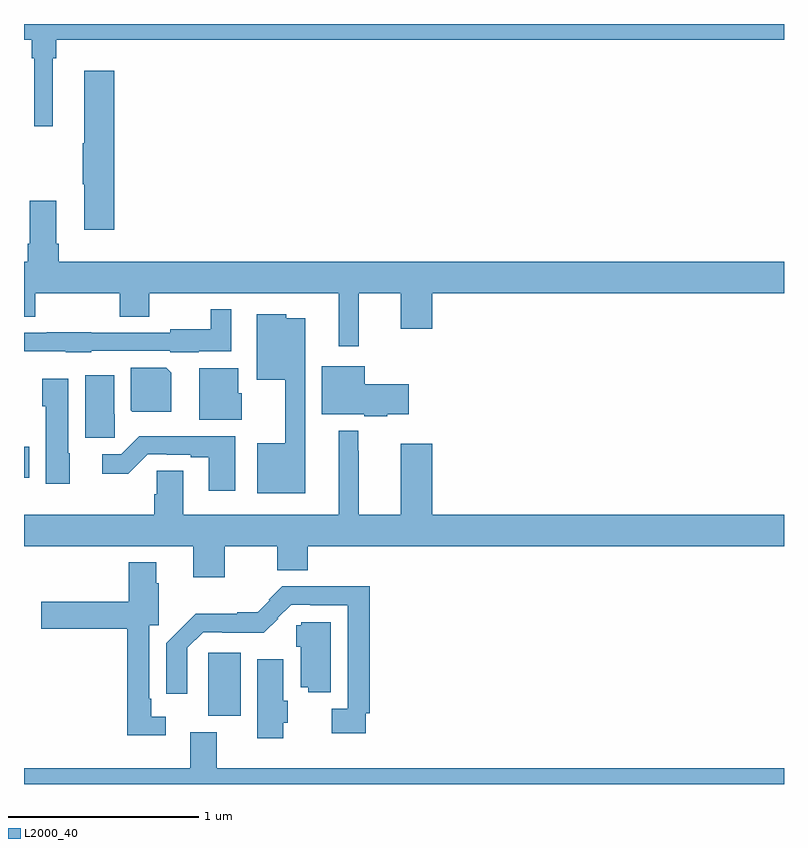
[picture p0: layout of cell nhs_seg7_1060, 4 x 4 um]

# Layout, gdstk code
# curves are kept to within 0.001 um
import gdstk
lib = gdstk.Library(unit=1e-6, precision=1e-09)
def R(c, l, rs):  # rectangles x0, y0, x1, y1
    for r in rs: c.add(gdstk.rectangle(r[:2], r[2:], *l))
def P(c, l, *ps):  # polygons
    for p in ps: c.add(gdstk.Polygon(p, *l))
L2000_40 = (2000, 40)

nhs_seg7_1060 = lib.new_cell('nhs_seg7_1060')
R(nhs_seg7_1060, L2000_40, [(187.97,1030.358,188.14,1030.692), (187,1031.613,187.027,1031.774)])
P(nhs_seg7_1060, L2000_40, [(187.15,1033.82),(187.169,1033.82),(187.169,1033.916),(191,1033.916),(191,1034),(187,1034),(187,1033.916),(187.04,1033.916),(187.04,1033.82),(187.053,1033.82),(187.053,1033.461),(187.15,1033.461)],
  [(187.475,1033.753),(187.316,1033.753),(187.316,1033.373),(187.309,1033.373),(187.309,1033.156),(187.316,1033.156),(187.316,1032.918),(187.475,1032.918)],
  [(187.031,1032.844),(187.019,1032.844),(187.019,1032.748),(187,1032.748),(187,1032.46),(187.059,1032.46),(187.059,1032.584),(187.504,1032.584),(187.504,1032.46),(187.659,1032.46),(187.659,1032.584),(188.657,1032.584),(188.657,1032.303),(188.761,1032.303),(188.761,1032.584),(188.984,1032.584),(188.984,1032.396),(189.148,1032.396),(189.148,1032.584),(191,1032.584),(191,1032.748),(187.184,1032.748),(187.184,1032.844),(187.171,1032.844),(187.171,1033.069),(187.031,1033.069)],
  [(187.353,1032.279),(187.77,1032.279),(187.77,1032.272),(187.92,1032.272),(187.92,1032.278),(188.092,1032.278),(188.092,1032.499),(187.983,1032.499),(187.983,1032.394),(187.77,1032.394),(187.77,1032.375),(187.353,1032.375),(187.353,1032.377),(187.121,1032.377),(187.121,1032.375),(187,1032.375),(187,1032.278),(187.221,1032.278),(187.221,1032.272),(187.353,1032.272)],
  [(188.479,1032.451),(188.379,1032.451),(188.379,1032.472),(188.225,1032.472),(188.225,1032.128),(188.375,1032.128),(188.375,1031.794),(188.228,1031.794),(188.228,1031.531),(188.479,1031.531)],
  [(188.912,1031.945),(189.025,1031.945),(189.025,1032.103),(188.794,1032.103),(188.794,1032.199),(188.567,1032.199),(188.567,1031.945),(188.79,1031.945),(188.79,1031.935),(188.912,1031.935)],
  [(187.774,1032.164),(187.748,1032.19),(187.562,1032.19),(187.562,1031.968),(187.57,1031.96),(187.774,1031.96)],
  [(188.146,1032.057),(188.128,1032.057),(188.128,1032.188),(187.922,1032.188),(187.922,1031.918),(188.146,1031.918)],
  [(187.478,1031.946),(187.474,1031.946),(187.474,1032.151),(187.322,1032.151),(187.322,1031.823),(187.478,1031.823)],
  [(187.24,1031.742),(187.234,1031.742),(187.234,1032.132),(187.097,1032.132),(187.097,1031.988),(187.115,1031.988),(187.115,1031.58),(187.24,1031.58)],
  [(188.056,1031.252),(188.333,1031.252),(188.333,1031.126),(188.494,1031.126),(188.494,1031.252),(191,1031.252),(191,1031.416),(189.148,1031.416),(189.148,1031.791),(188.984,1031.791),(188.984,1031.416),(188.761,1031.416),(188.761,1031.753),(188.76,1031.753),(188.76,1031.86),(188.657,1031.86),(188.657,1031.416),(187.837,1031.416),(187.837,1031.648),(187.698,1031.648),(187.698,1031.526),(187.685,1031.526),(187.685,1031.416),(187,1031.416),(187,1031.252),(187.892,1031.252),(187.892,1031.088),(188.056,1031.088)],
  [(188.113,1031.831),(187.607,1031.831),(187.512,1031.736),(187.413,1031.736),(187.413,1031.634),(187.548,1031.634),(187.65,1031.736),(187.75,1031.736),(187.75,1031.733),(187.877,1031.733),(187.877,1031.721),(187.973,1031.721),(187.973,1031.544),(188.113,1031.544)],
  [(187.747,1030.353),(187.671,1030.353),(187.671,1030.45),(187.659,1030.45),(187.659,1030.836),(187.709,1030.836),(187.709,1031.057),(187.696,1031.057),(187.696,1031.167),(187.55,1031.167),(187.55,1030.959),(187.092,1030.959),(187.092,1030.817),(187.543,1030.817),(187.543,1030.256),(187.747,1030.256)],
  [(188.799,1030.372),(188.819,1030.372),(188.819,1031.041),(188.359,1031.041),(188.289,1030.971),(188.293,1030.967),(188.231,1030.905),(188.123,1030.905),(188.123,1030.897),(187.903,1030.897),(187.748,1030.74),(187.748,1030.476),(187.86,1030.476),(187.86,1030.716),(187.944,1030.8),(188.044,1030.8),(188.044,1030.796),(188.263,1030.796),(188.337,1030.869),(188.334,1030.872),(188.406,1030.944),(188.506,1030.944),(188.506,1030.94),(188.703,1030.94),(188.703,1030.396),(188.619,1030.396),(188.619,1030.268),(188.799,1030.268)],
  [(188.614,1030.851),(188.46,1030.851),(188.46,1030.836),(188.433,1030.836),(188.433,1030.722),(188.456,1030.722),(188.456,1030.508),(188.496,1030.508),(188.496,1030.484),(188.614,1030.484)],
  [(188.365,1030.323),(188.389,1030.323),(188.389,1030.437),(188.365,1030.437),(188.365,1030.657),(188.228,1030.657),(188.228,1030.242),(188.365,1030.242)],
  [(191,1030.084),(188.014,1030.084),(188.014,1030.273),(187.874,1030.273),(187.874,1030.084),(187,1030.084),(187,1030),(191,1030)])

lib.write_gds('nhs_seg7_1060.gds')
